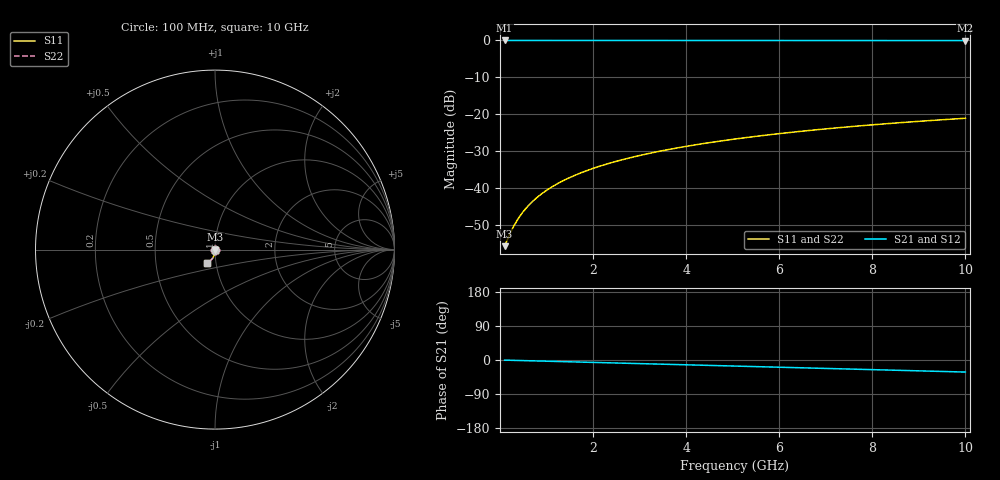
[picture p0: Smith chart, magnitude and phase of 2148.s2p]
# Hz S RI R 50.00
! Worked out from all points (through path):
!   100 points, 100 MHz to 10 GHz, reference 50 ohm
!   highest |S21| = -0.01 dB at 100 MHz (marker M1); lowest = -0.1 dB at 10 GHz (marker M2)
!   group delay of S21, straight-line fit = 8.84 ps
!   lowest |S11| = -55.8 dB at 100 MHz (marker M3), VSWR 1.00, Z = 50.1 - j0.0926 ohm
!   |S11| at or under -10 dB: start of sweep to end of sweep
!   |S22| runs from -55.8 to -21.1 dB; largest |S21 - S12| = 0
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1e8  0.00133 -0.000924  0.9986 -0.00551  0.9986 -0.00551  0.00133 -0.000924
2e8  0.00132 -0.00185  0.9986 -0.011  0.9986 -0.011  0.00132 -0.00185
3e8  0.0013 -0.00277  0.9985 -0.0165  0.9985 -0.0165  0.0013 -0.00277
4e8  0.00127 -0.00369  0.9984 -0.0221  0.9984 -0.0221  0.00127 -0.00369
5e8  0.00122 -0.00462  0.9982 -0.0276  0.9982 -0.0276  0.00122 -0.00462
6e8  0.00117 -0.00554  0.998 -0.0331  0.998 -0.0331  0.00117 -0.00554
7e8  0.0011 -0.00646  0.9978 -0.0386  0.9978 -0.0386  0.0011 -0.00646
9e8  0.000942 -0.00831  0.9973 -0.0496  0.9973 -0.0496  0.000942 -0.00831
1e9  0.000845 -0.00923  0.997 -0.0551  0.997 -0.0551  0.000845 -0.00923
1.2e9  0.000621 -0.0111  0.9963 -0.0661  0.9963 -0.0661  0.000621 -0.0111
1.5e9  0.000208 -0.0138  0.995 -0.0826  0.995 -0.0826  0.000208 -0.0138
1.8e9  -0.000296 -0.0165  0.9935 -0.0991  0.9935 -0.0991  -0.000296 -0.0165
2.1e9  -0.000892 -0.0193  0.9916 -0.1156  0.9916 -0.1156  -0.000892 -0.0193
2.5e9  -0.00183 -0.0229  0.9887 -0.1375  0.9887 -0.1375  -0.00183 -0.0229
2.9e9  -0.00292 -0.0264  0.9853 -0.1594  0.9853 -0.1594  -0.00292 -0.0264
3.4e9  -0.00451 -0.0308  0.9804 -0.1866  0.9804 -0.1866  -0.00451 -0.0308
4.2e9  -0.00755 -0.0376  0.9708 -0.2298  0.9708 -0.2298  -0.00755 -0.0376
5.1e9  -0.0117 -0.045  0.9578 -0.2779  0.9578 -0.2779  -0.0117 -0.045
5.9e9  -0.016 -0.0511  0.9441 -0.3201  0.9441 -0.3201  -0.016 -0.0511
6.7e9  -0.0208 -0.0569  0.9285 -0.3616  0.9285 -0.3616  -0.0208 -0.0569
8.4e9  -0.0326 -0.0675  0.8891 -0.4474  0.8891 -0.4474  -0.0326 -0.0675
1e10  -0.0454 -0.0753  0.8447 -0.5244  0.8447 -0.5244  -0.0454 -0.0753
